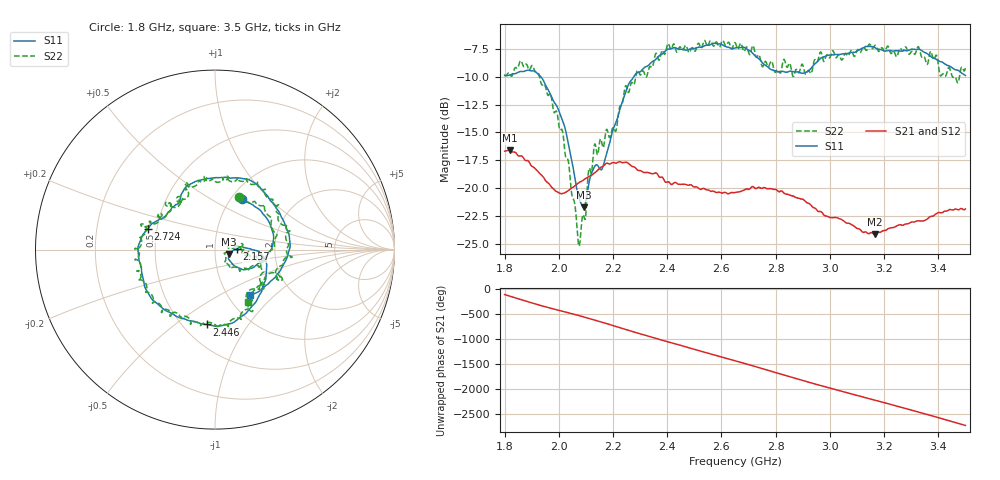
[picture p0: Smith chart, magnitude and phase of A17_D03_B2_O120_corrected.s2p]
! Created with skrf 1.9.0 (http://scikit-rf.org).
# Hz S RI R 50.0
!freq ReS11 ImS11 ReS21 ImS21 ReS12 ImS12 ReS22 ImS22
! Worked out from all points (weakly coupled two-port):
!   1601 points, 1.8 GHz to 3.5 GHz, reference 50 ohm
!   highest |S21| = -16.60 dB at 1.818 GHz (marker M1); lowest = -24.2 dB at 3.165 GHz (marker M2)
!   lowest |S11| = -21.7 dB at 2.091 GHz (marker M3), VSWR 1.18, Z = 58.4 - j2.88 ohm
!   |S11| at or under -10 dB: 1.934 GHz to 2.276 GHz (342.8 MHz wide, 16.3 % of centre)
!   |S22| runs from -25.2 to -6.7 dB; largest |S21 - S12| = 0.0025
!   S11 on the Smith chart (normalised r, x): 1.8 GHz: 1.12, +0.71; 2.157 GHz: 1.28, +0.01; 2.446 GHz: 0.65, -0.66; 2.724 GHz: 0.44, +0.12; 3.5 GHz: 1.25, -0.71
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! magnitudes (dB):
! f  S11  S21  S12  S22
! 1.8 GHz  -9.9  -16.7  -16.7  -9.9
! 1.818 GHz  -9.9  -16.6  -16.6  -9.7
! 1.903 GHz  -9.5  -18.1  -18.1  -9.0
! 1.968 GHz  -11.5  -19.7  -19.8  -11.5
! 2.015 GHz  -14.0  -20.5  -20.5  -15.0
! 2.072 GHz  -20.7  -19.6  -19.6  -25.0
! 2.084 GHz  -21.5  -19.4  -19.3  -23.2
! 2.091 GHz  -21.7  -19.3  -19.3  -22.4
! 2.13 GHz  -18.1  -18.7  -18.7  -16.2
! 2.157 GHz  -18.3  -18.1  -18.1  -15.7
! 2.209 GHz  -14.2  -17.8  -17.7  -14.9
! 2.259 GHz  -10.6  -17.8  -17.8  -11.3
! 2.367 GHz  -8.2  -18.9  -18.8  -8.5
! 2.446 GHz  -7.5  -19.7  -19.7  -7.3
! 2.65 GHz  -7.4  -20.4  -20.4  -6.9
! 2.724 GHz  -8.1  -20.0  -20.0  -7.9
! 2.934 GHz  -9.1  -21.6  -21.6  -9.5
! 3.165 GHz  -7.4  -24.2  -24.1  -7.2
! 3.217 GHz  -7.6  -23.6  -23.6  -7.4
! 3.375 GHz  -8.2  -22.5  -22.5  -7.8
! 3.468 GHz  -9.4  -21.9  -21.9  -10.4
! 3.5 GHz  -9.9  -21.9  -21.9  -9.2
